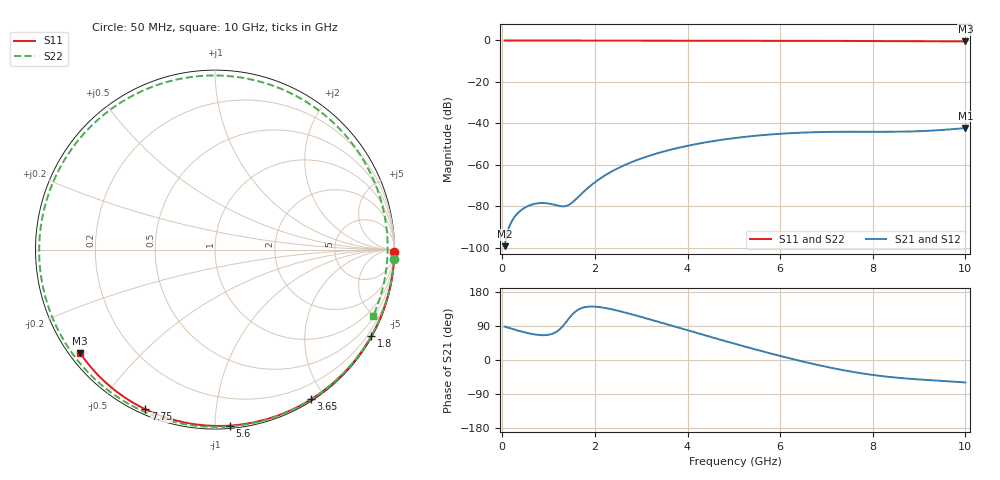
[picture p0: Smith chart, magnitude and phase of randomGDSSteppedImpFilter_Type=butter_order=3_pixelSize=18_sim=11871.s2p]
! freq	dB(S11)	phase(S11)	dB(S12)	phase(S12)
!  dB(S21)	phase(S21)	dB(S22)	phase(S22)
!S-par simulation data
#  GHz  S  DB  R 50
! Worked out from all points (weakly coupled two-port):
!   200 points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, 50 MHz to 10 GHz, reference 50 ohm
!   highest |S21| = -42.27 dB at 10 GHz (marker M1); lowest = -99.2 dB at 50 MHz (marker M2)
!   lowest |S11| = -0.5 dB at 10 GHz (marker M3), VSWR 36.71, Z = 1.52 - j17 ohm
!   |S11| at or under -10 dB: nowhere
!   |S22| runs from -0.4 to 0.0 dB; largest |S21 - S12| = 0
!   S11 on the Smith chart (normalised r, x): 50 MHz: open; 1.8 GHz: 0.03, -3.87; 3.65 GHz: 0.02, -1.83; 5.6 GHz: 0.02, -1.09; 7.75 GHz: 0.02, -0.65; 10 GHz: 0.03, -0.34
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0.05  -0.00 -0.8  -99.24 88.2  -99.24 88.2  -0.00 -3.0
0.45  -0.01 -7.3  -81.17 74.0  -81.17 74.0  -0.04 -26.5
0.95  -0.02 -15.4  -78.51 65.8  -78.51 65.8  -0.07 -54.8
1.25  -0.03 -20.2  -79.92 82.2  -79.92 82.2  -0.09 -70.9
1.4  -0.03 -22.6  -79.70 103.7  -79.70 103.7  -0.09 -78.7
1.75  -0.04 -28.2  -73.15 138.5  -73.15 138.5  -0.11 -96.0
1.8  -0.04 -29.0  -72.12 139.8  -72.12 139.8  -0.11 -98.4
2.15  -0.04 -34.5  -66.06 138.7  -66.06 138.7  -0.12 -114.5
2.6  -0.05 -41.4  -60.55 126.9  -60.55 126.9  -0.14 -133.9
3  -0.06 -47.6  -56.94 113.7  -56.94 113.7  -0.15 -150.1
3.4  -0.07 -53.6  -54.10 99.7  -54.10 99.7  -0.16 -165.4
3.65  -0.08 -57.3  -52.61 90.9  -52.61 90.9  -0.17 -174.7
4.3  -0.09 -66.8  -49.52 67.8  -49.52 67.8  -0.20 161.9
5.05  -0.12 -77.5  -46.99 41.8  -46.99 41.8  -0.22 135.8
5.6  -0.14 -85.1  -45.70 23.5  -45.70 23.5  -0.24 116.9
6.15  -0.16 -92.6  -44.82 6.1  -44.82 6.1  -0.26 98.1
6.7  -0.19 -99.9  -44.29 -10.0  -44.29 -10.0  -0.27 79.4
7.2  -0.22 -106.5  -44.08 -23.1  -44.08 -23.1  -0.28 62.6
7.75  -0.26 -113.6  -44.04 -35.0  -44.04 -35.0  -0.29 44.5
8.35  -0.31 -121.3  -44.05 -44.6  -44.05 -44.6  -0.31 25.3
9.15  -0.38 -131.5  -43.64 -52.5  -43.64 -52.5  -0.34 1.1
10  -0.47 -142.5  -42.27 -59.3  -42.27 -59.3  -0.40 -22.6
